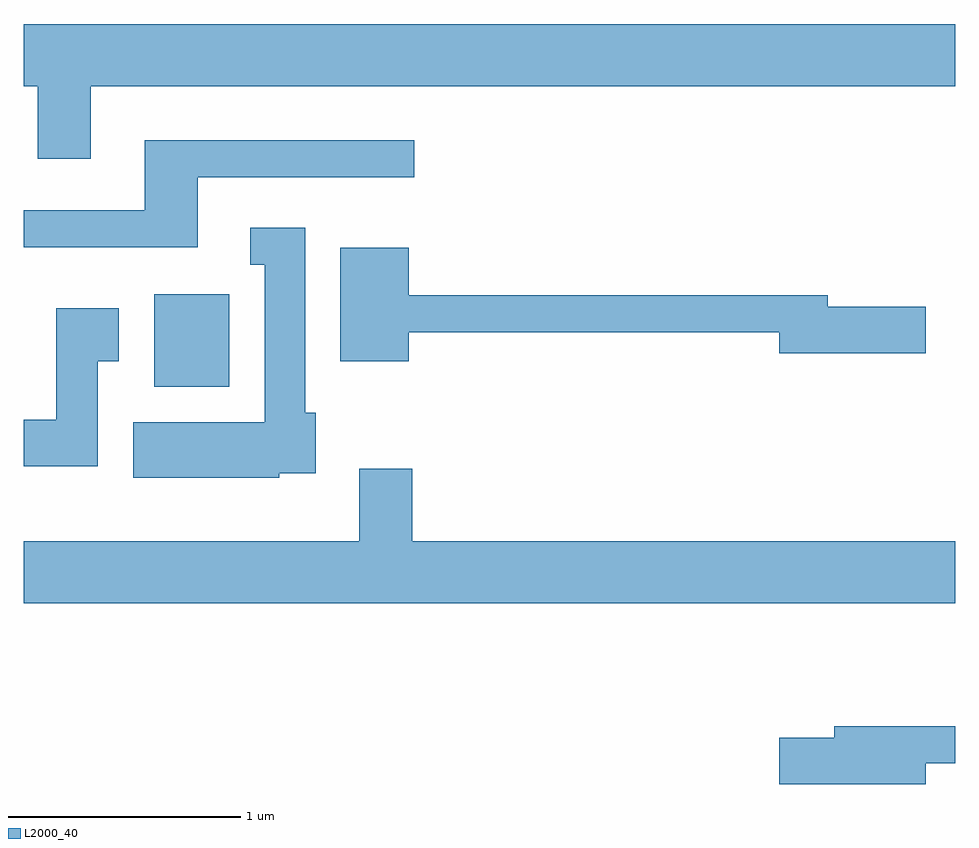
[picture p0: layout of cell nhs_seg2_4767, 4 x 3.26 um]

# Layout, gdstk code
import gdstk
lib = gdstk.Library(unit=1e-6, precision=1e-09)
def R(c, l, rs):  # rectangles x0, y0, x1, y1
    for r in rs: c.add(gdstk.rectangle(r[:2], r[2:], *l))
def P(c, l, *ps):  # polygons
    for p in ps: c.add(gdstk.Polygon(p, *l))
L2000_40 = (2000, 40)

nhs_seg2_4767 = lib.new_cell('nhs_seg2_4767')
R(nhs_seg2_4767, L2000_40, [(326.171,1038.146,326.494,1038.544)])
P(nhs_seg2_4767, L2000_40, [(325.899,1039.436),(329.611,1039.436),(329.611,1039.704),(325.611,1039.704),(325.611,1039.436),(325.671,1039.436),(325.671,1039.126),(325.899,1039.126)],
  [(326.359,1039.046),(327.288,1039.046),(327.288,1039.204),(326.131,1039.204),(326.131,1038.904),(325.611,1038.904),(325.611,1038.746),(326.359,1038.746)],
  [(326.709,1037.776),(326.864,1037.776),(326.864,1038.034),(326.819,1038.034),(326.819,1038.829),(326.583,1038.829),(326.583,1038.671),(326.646,1038.671),(326.646,1037.994),(326.081,1037.994),(326.081,1037.756),(326.709,1037.756)],
  [(327.264,1038.381),(328.856,1038.381),(328.856,1038.291),(329.484,1038.291),(329.484,1038.489),(329.064,1038.489),(329.064,1038.539),(327.264,1038.539),(327.264,1038.744),(326.971,1038.744),(326.971,1038.256),(327.264,1038.256)],
  [(325.929,1038.256),(326.019,1038.256),(326.019,1038.484),(325.751,1038.484),(325.751,1038.004),(325.611,1038.004),(325.611,1037.806),(325.929,1037.806)],
  [(329.611,1037.484),(327.279,1037.484),(327.279,1037.794),(327.051,1037.794),(327.051,1037.484),(325.611,1037.484),(325.611,1037.216),(329.611,1037.216)],
  [(329.484,1036.531),(329.611,1036.531),(329.611,1036.689),(329.091,1036.689),(329.091,1036.639),(328.856,1036.639),(328.856,1036.441),(329.484,1036.441)])

lib.write_gds('nhs_seg2_4767.gds')
